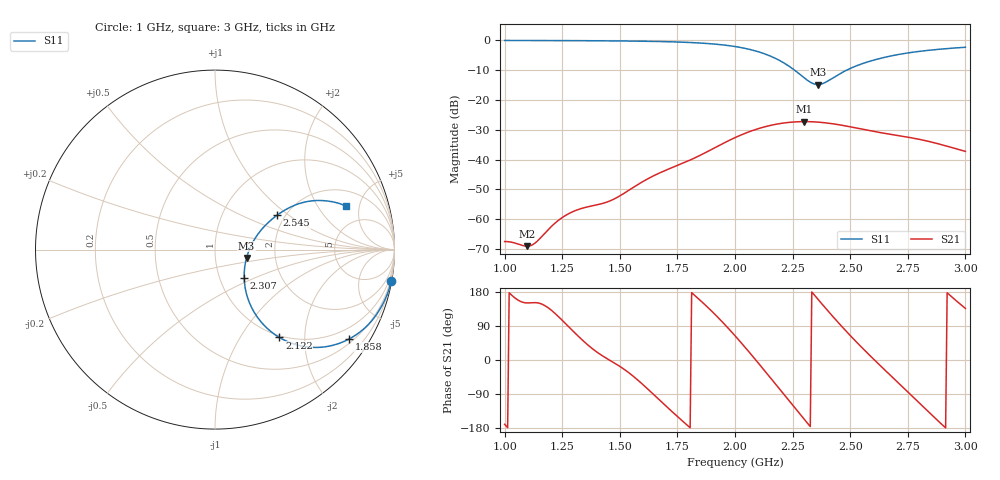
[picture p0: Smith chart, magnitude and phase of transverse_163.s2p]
! TOUCHSTONE file generated by CST MICROWAVE STUDIO
! Date and time: Tue Mar 11 13:57:17 2025
! Project name: transverse.cst
! Parameters = {Fracture=1; B=10; D=160; F=15; Feed=2.85625; L=100; M=20; R=0.384908; S=2; Theta=180; length=57.125; wave=114.25}
! Header version: 2024
! Port assignment regex: !\s*Touchstone port\s*([0-9]+)\s*=\s*(CST MWS port|CST DES external port|CST DES block port)\s*(.+)\s* \(\"(.*)\"\)(\s*mode\s*([0-9]+))?.*
! Touchstone port assignment:
! Touchstone port 1 = CST MWS port 1 ("")
! Touchstone port 2 = CST MWS port 2 ("")
# GHz S MA R 50
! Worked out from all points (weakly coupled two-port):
!   304 points, 1 GHz to 3 GHz, reference 50 ohm
!   highest |S21| = -27.26 dB at 2.3 GHz (marker M1); lowest = -69.1 dB at 1.099 GHz (marker M2)
!   lowest |S11| = -14.8 dB at 2.36 GHz (marker M3), VSWR 1.44, Z = 70.9 - j6.76 ohm
!   |S11| at or under -10 dB: 2.259 GHz to 2.484 GHz (225.6 MHz wide, 9.51 % of centre)
!   S12 and S22 are empty: the file has one direction only
!   S11 on the Smith chart (normalised r, x): 1 GHz: 0, -11; 1.858 GHz: 0.62, -3.21; 2.122 GHz: 0.97, -1.50; 2.307 GHz: 1.31, -0.43; 2.545 GHz: 1.82, +0.83; 3 GHz: 3.08, +3.64
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1  0.9977 -10.0  0.000421 -169.6  0 0.0  0 0.0
1.09901  0.9963 -11.4  0.000352 150.6  0 0.0  0 0.0
1.13201  0.9957 -11.9  0.0003969 151.4  0 0.0  0 0.0
1.20462  0.9941 -13.1  0.0007645 130.4  0 0.0  0 0.0
1.25083  0.9927 -13.9  0.001068 104.4  0 0.0  0 0.0
1.33663  0.9893 -15.5  0.001523 53.0  0 0.0  0 0.0
1.46865  0.9816 -18.4  0.002117 -5.1  0 0.0  0 0.0
1.66667  0.9591 -24.4  0.005818 -102.4  0 0.0  0 0.0
1.85809  0.8989 -33.6  0.01229 152.4  0 0.0  0 0.0
2.0033  0.7856 -43.9  0.02365 61.8  0 0.0  0 0.0
2.12211  0.6068 -53.8  0.03488 -23.5  0 0.0  0 0.0
2.21452  0.4135 -58.0  0.04121 -92.4  0 0.0  0 0.0
2.30033  0.2355 -46.2  0.04335 -156.3  0 0.0  0 0.0
2.30693  0.225 -43.7  0.04335 -161.1  0 0.0  0 0.0
2.33993  0.188 -27.1  0.04299 174.8  0 0.0  0 0.0
2.35974  0.1817 -14.7  0.04252 160.5  0 0.0  0 0.0
2.39274  0.1979 4.1  0.04136 137.0  0 0.0  0 0.0
2.44554  0.262 20.9  0.03873 100.6  0 0.0  0 0.0
2.54455  0.3967 29.0  0.0328 36.6  0 0.0  0 0.0
2.66997  0.5411 28.5  0.02672 -37.8  0 0.0  0 0.0
2.82838  0.6741 23.8  0.02069 -130.4  0 0.0  0 0.0
3  0.7669 18.5  0.01372 136.0  0 0.0  0 0.0
